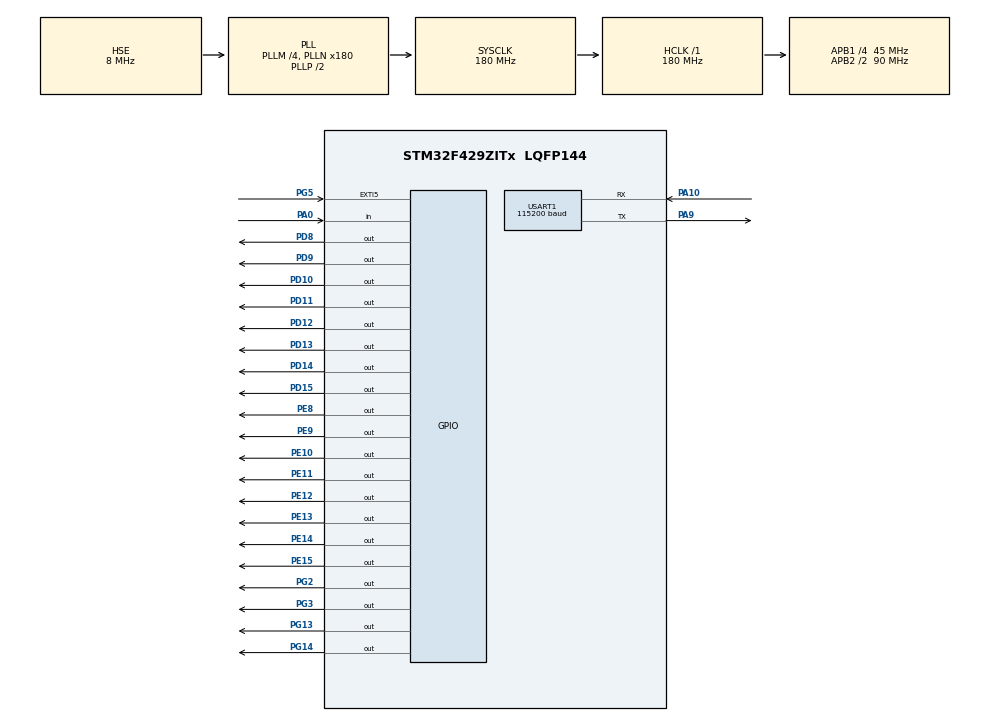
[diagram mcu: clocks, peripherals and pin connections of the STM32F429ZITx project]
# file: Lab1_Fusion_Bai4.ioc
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Mcu.Family=STM32F4
Mcu.Name=STM32F429ZITx
Mcu.Package=LQFP144
NVIC.EXTI9_5_IRQn=true\:1\:0\:false\:false\:true\:true\:true\:true
NVIC.PriorityGroup=NVIC_PRIORITYGROUP_4
NVIC.TIM6_DAC_IRQn=true\:0\:0\:false\:false\:true\:true\:true\:true
PA0.Signal=GPIO_Input
PA10.Mode=Asynchronous
PA10.Signal=USART1_RX
PA9.Mode=Asynchronous
PA9.Signal=USART1_TX
PD10.Signal=GPIO_Output
PD11.Signal=GPIO_Output
PD12.Signal=GPIO_Output
PD13.Signal=GPIO_Output
PD14.Signal=GPIO_Output
PD15.Signal=GPIO_Output
PD8.Signal=GPIO_Output
PD9.Signal=GPIO_Output
PE10.Signal=GPIO_Output
PE11.Signal=GPIO_Output
PE12.Signal=GPIO_Output
PE13.Signal=GPIO_Output
PE14.Signal=GPIO_Output
PE15.Signal=GPIO_Output
PE8.Signal=GPIO_Output
PE9.Signal=GPIO_Output
PG13.Signal=GPIO_Output
PG14.Signal=GPIO_Output
PG2.Signal=GPIO_Output
PG3.Signal=GPIO_Output
PG5.GPIO_ModeDefaultEXTI=GPIO_MODE_IT_FALLING
PG5.GPIO_PuPd=GPIO_PULLUP
PG5.Signal=GPXTI5
PH0/OSC_IN.Mode=HSE-External-Oscillator
PH0/OSC_IN.Signal=RCC_OSC_IN
PH1/OSC_OUT.Mode=HSE-External-Oscillator
PH1/OSC_OUT.Signal=RCC_OSC_OUT
ProjectManager.HeapSize=0x200
ProjectManager.StackSize=0x400
ProjectManager.TargetToolchain=STM32CubeIDE
RCC.48MHZClocksFreq_Value=90000000
RCC.AHBFreq_Value=180000000
RCC.APB1CLKDivider=RCC_HCLK_DIV4
RCC.APB1Freq_Value=45000000
RCC.APB1TimFreq_Value=90000000
RCC.APB2CLKDivider=RCC_HCLK_DIV2
RCC.APB2Freq_Value=90000000
RCC.APB2TimFreq_Value=180000000
RCC.CortexFreq_Value=180000000
RCC.HCLKFreq_Value=180000000
RCC.HSE_VALUE=8000000
RCC.HSI_VALUE=16000000
RCC.LSE_VALUE=32768
RCC.PLLM=4
RCC.PLLN=180
RCC.PLLSourceVirtual=RCC_PLLSOURCE_HSE
RCC.SYSCLKFreq_VALUE=180000000
RCC.SYSCLKSource=RCC_SYSCLKSOURCE_PLLCLK
RCC.VCOOutputFreq_Value=360000000
TIM6.Period=99
TIM6.Prescaler=89
USART1.BaudRate=115200
USART1.VirtualMode=VM_ASYNC
VP_TIM6_VS_ClockSourceINT.Mode=Enable_Timer
board=custom

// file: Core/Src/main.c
/* USER CODE BEGIN Header */
/**
  ******************************************************************************
  * @file           : main.c
  * @brief          : Main program body
  ******************************************************************************
  * @attention
  *
  * Copyright (c) 2025 STMicroelectronics.
  * All rights reserved.
  *
  * This software is licensed under terms that can be found in the LICENSE file
  * in the root directory of this software component.
  * If no LICENSE file comes with this software, it is provided AS-IS.
  *
  ******************************************************************************
  */
/* USER CODE END Header */
#include "main.h"

/* USER CODE BEGIN Includes */
#include "irda.h"
#include "fusion_app.h"
#include "stdio.h"
#include "string.h"
/* USER CODE END Includes */

TIM_HandleTypeDef htim6;

UART_HandleTypeDef huart1;

/* USER CODE BEGIN PV */
/* tim6_count is owned by irda.c. */
/* USER CODE END PV */

void SystemClock_Config(void);
static void MX_GPIO_Init(void);
static void MX_TIM6_Init(void);
static void MX_USART1_UART_Init(void);

/* USER CODE BEGIN 0 */
/* Original sample main is preserved in docs/original_sources. */
/* USER CODE END 0 */

int main(void)
{

  /* MCU Configuration--------------------------------------------------------*/

  /* Reset of all peripherals, Initializes the Flash interface and the Systick. */
  HAL_Init();

  /* Configure the system clock */
  SystemClock_Config();

  /* Initialize all configured peripherals */
  MX_GPIO_Init();
  MX_TIM6_Init();
  MX_USART1_UART_Init();
  /* USER CODE BEGIN 2 */
  FusionApp_Init();
  __HAL_TIM_CLEAR_FLAG(&htim6, TIM_FLAG_UPDATE);
  if (HAL_TIM_Base_Start_IT(&htim6) != HAL_OK) Error_Handler();
  /* USER CODE END 2 */

  /* Infinite loop */
  while (1)
  {
    /* USER CODE BEGIN 3 */
    FusionApp_Run();
  }
  /* USER CODE END 3 */
}

void SystemClock_Config(void)
{
  RCC_OscInitTypeDef RCC_OscInitStruct = {0};
  RCC_ClkInitTypeDef RCC_ClkInitStruct = {0};

  /** Configure the main internal regulator output voltage
  */
  __HAL_RCC_PWR_CLK_ENABLE();
  __HAL_PWR_VOLTAGESCALING_CONFIG(PWR_REGULATOR_VOLTAGE_SCALE1);

  /** Initializes the RCC Oscillators according to the specified parameters
  * in the RCC_OscInitTypeDef structure.
  */
  RCC_OscInitStruct.OscillatorType = RCC_OSCILLATORTYPE_HSE;
  RCC_OscInitStruct.HSEState = RCC_HSE_ON;
  RCC_OscInitStruct.PLL.PLLState = RCC_PLL_ON;
  RCC_OscInitStruct.PLL.PLLSource = RCC_PLLSOURCE_HSE;
  RCC_OscInitStruct.PLL.PLLM = 4;
  RCC_OscInitStruct.PLL.PLLN = 180;
  RCC_OscInitStruct.PLL.PLLP = RCC_PLLP_DIV2;
  RCC_OscInitStruct.PLL.PLLQ = 4;
  if (HAL_RCC_OscConfig(&RCC_OscInitStruct) != HAL_OK)
  {
    Error_Handler();
  }

  /** Activate the Over-Drive mode
  */
  if (HAL_PWREx_EnableOverDrive() != HAL_OK)
  {
    Error_Handler();
  }

  /** Initializes the CPU, AHB and APB buses clocks
  */
  RCC_ClkInitStruct.ClockType = RCC_CLOCKTYPE_HCLK|RCC_CLOCKTYPE_SYSCLK
                              |RCC_CLOCKTYPE_PCLK1|RCC_CLOCKTYPE_PCLK2;
  RCC_ClkInitStruct.SYSCLKSource = RCC_SYSCLKSOURCE_PLLCLK;
  RCC_ClkInitStruct.AHBCLKDivider = RCC_SYSCLK_DIV1;
  RCC_ClkInitStruct.APB1CLKDivider = RCC_HCLK_DIV4;
  RCC_ClkInitStruct.APB2CLKDivider = RCC_HCLK_DIV2;

  if (HAL_RCC_ClockConfig(&RCC_ClkInitStruct, FLASH_LATENCY_5) != HAL_OK)
  {
    Error_Handler();
  }
}

static void MX_TIM6_Init(void)
{

  TIM_MasterConfigTypeDef sMasterConfig = {0};

  htim6.Instance = TIM6;
  htim6.Init.Prescaler = 89;
  htim6.Init.CounterMode = TIM_COUNTERMODE_UP;
  htim6.Init.Period = 99;
  htim6.Init.AutoReloadPreload = TIM_AUTORELOAD_PRELOAD_DISABLE;
  if (HAL_TIM_Base_Init(&htim6) != HAL_OK)
  {
    Error_Handler();
  }
  sMasterConfig.MasterOutputTrigger = TIM_TRGO_RESET;
  sMasterConfig.MasterSlaveMode = TIM_MASTERSLAVEMODE_DISABLE;
  if (HAL_TIMEx_MasterConfigSynchronization(&htim6, &sMasterConfig) != HAL_OK)
  {
    Error_Handler();
  }

}

static void MX_USART1_UART_Init(void)
{

  huart1.Instance = USART1;
  huart1.Init.BaudRate = 115200;
  huart1.Init.WordLength = UART_WORDLENGTH_8B;
  huart1.Init.StopBits = UART_STOPBITS_1;
  huart1.Init.Parity = UART_PARITY_NONE;
  huart1.Init.Mode = UART_MODE_TX_RX;
  huart1.Init.HwFlowCtl = UART_HWCONTROL_NONE;
  huart1.Init.OverSampling = UART_OVERSAMPLING_16;
  if (HAL_UART_Init(&huart1) != HAL_OK)
  {
    Error_Handler();
  }

}

static void MX_GPIO_Init(void)
{
  GPIO_InitTypeDef GPIO_InitStruct = {0};

  /* GPIO Ports Clock Enable */
  __HAL_RCC_GPIOH_CLK_ENABLE();
  __HAL_RCC_GPIOG_CLK_ENABLE();
  __HAL_RCC_GPIOA_CLK_ENABLE();

  /*Configure GPIO pin Output Level */
  HAL_GPIO_WritePin(GPIOG, GPIO_PIN_13|GPIO_PIN_14, GPIO_PIN_RESET);

  /*Configure GPIO pin : PG5 */
  GPIO_InitStruct.Pin = GPIO_PIN_5;
  GPIO_InitStruct.Mode = GPIO_MODE_IT_FALLING;
  GPIO_InitStruct.Pull = GPIO_PULLUP;
  HAL_GPIO_Init(GPIOG, &GPIO_InitStruct);

  /*Configure GPIO pins : PG13 PG14 */
  GPIO_InitStruct.Pin = GPIO_PIN_13|GPIO_PIN_14;
  GPIO_InitStruct.Mode = GPIO_MODE_OUTPUT_PP;
  GPIO_InitStruct.Pull = GPIO_NOPULL;
  GPIO_InitStruct.Speed = GPIO_SPEED_FREQ_LOW;
  HAL_GPIO_Init(GPIOG, &GPIO_InitStruct);

  /* EXTI interrupt init*/
  HAL_NVIC_SetPriority(EXTI9_5_IRQn, 0, 0);
  HAL_NVIC_EnableIRQ(EXTI9_5_IRQn);

/* USER CODE BEGIN MX_GPIO_Init_2 */
  /* Bai 3.1 and 3.2: eight LEDs and two common-cathode modules. */
  __HAL_RCC_GPIOD_CLK_ENABLE();
  __HAL_RCC_GPIOE_CLK_ENABLE();
  HAL_GPIO_WritePin(GPIOD, (uint16_t)0xFF00U, GPIO_PIN_RESET);
  HAL_GPIO_WritePin(GPIOE, (uint16_t)0xFF00U, GPIO_PIN_RESET);
  HAL_GPIO_WritePin(GPIOG, GPIO_PIN_2 | GPIO_PIN_3, GPIO_PIN_RESET);
  GPIO_InitStruct.Pin = (uint16_t)0xFF00U;
  GPIO_InitStruct.Mode = GPIO_MODE_OUTPUT_PP;
  GPIO_InitStruct.Pull = GPIO_NOPULL;
  GPIO_InitStruct.Speed = GPIO_SPEED_FREQ_LOW;
  HAL_GPIO_Init(GPIOD, &GPIO_InitStruct);
  HAL_GPIO_Init(GPIOE, &GPIO_InitStruct);
  GPIO_InitStruct.Pin = GPIO_PIN_2 | GPIO_PIN_3;
  HAL_GPIO_Init(GPIOG, &GPIO_InitStruct);
  /* B1 short press increments display; hold 2s learns remote keys. */
  GPIO_InitStruct.Pin = GPIO_PIN_0;
  GPIO_InitStruct.Mode = GPIO_MODE_INPUT;
  GPIO_InitStruct.Pull = GPIO_NOPULL;
  HAL_GPIO_Init(GPIOA, &GPIO_InitStruct);
  /* TIM6 priority 0 precedes IR capture priority 1. */
  HAL_NVIC_SetPriority(EXTI9_5_IRQn, 1, 0);

/* USER CODE END MX_GPIO_Init_2 */
}

void Error_Handler(void)
{
  __disable_irq();
  while (1)
  {
  }
}
